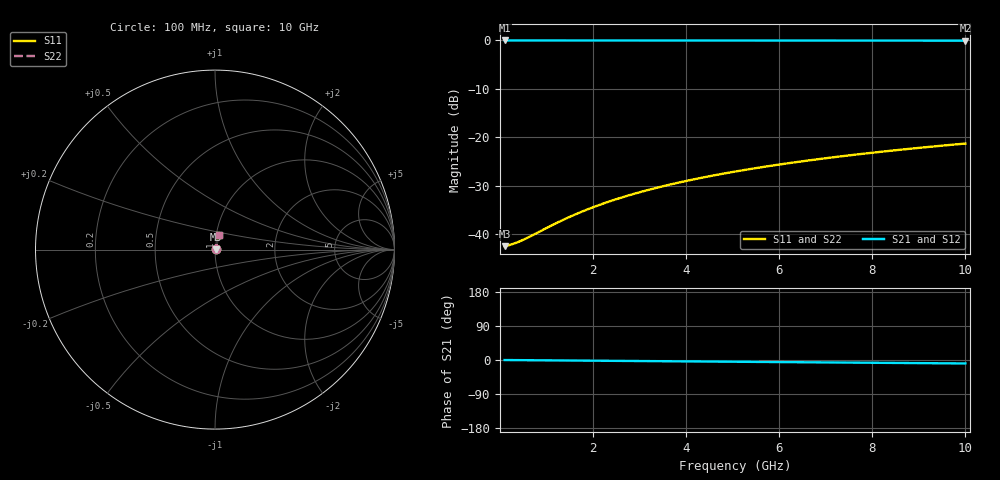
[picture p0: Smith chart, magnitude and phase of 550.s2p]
# Hz S RI R 50.00
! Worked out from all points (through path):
!   100 points, 100 MHz to 10 GHz, reference 50 ohm
!   highest |S21| = -0.06 dB at 100 MHz (marker M1); lowest = -0.1 dB at 10 GHz (marker M2)
!   group delay of S21, straight-line fit = 2.53 ps
!   lowest |S11| = -42.5 dB at 100 MHz (marker M3), VSWR 1.02, Z = 50.7 + j0.086 ohm
!   |S11| at or under -10 dB: start of sweep to end of sweep
!   |S22| runs from -42.5 to -21.3 dB; largest |S21 - S12| = 0
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1e8  0.00743 0.000847  0.9926 -0.00158  0.9926 -0.00158  0.00743 0.000847
2e8  0.00749 0.00169  0.9925 -0.00316  0.9925 -0.00316  0.00749 0.00169
3e8  0.00753 0.00254  0.9925 -0.00474  0.9925 -0.00474  0.00753 0.00254
4e8  0.00757 0.00339  0.9924 -0.00632  0.9924 -0.00632  0.00757 0.00339
5e8  0.0076 0.00424  0.9924 -0.0079  0.9924 -0.0079  0.0076 0.00424
1.3e9  0.00793 0.011  0.992 -0.0205  0.992 -0.0205  0.00793 0.011
1.5e9  0.00803 0.0127  0.9919 -0.0237  0.9919 -0.0237  0.00803 0.0127
1.8e9  0.00819 0.0152  0.9917 -0.0284  0.9917 -0.0284  0.00819 0.0152
2.1e9  0.00838 0.0178  0.9915 -0.0332  0.9915 -0.0332  0.00838 0.0178
2.5e9  0.00866 0.0211  0.9912 -0.0395  0.9912 -0.0395  0.00866 0.0211
2.9e9  0.00898 0.0245  0.9908 -0.0458  0.9908 -0.0458  0.00898 0.0245
3.4e9  0.00944 0.0287  0.9902 -0.0536  0.9902 -0.0536  0.00944 0.0287
3.8e9  0.00986 0.0321  0.9897 -0.0599  0.9897 -0.0599  0.00986 0.0321
4.2e9  0.0103 0.0354  0.9892 -0.0662  0.9892 -0.0662  0.0103 0.0354
4.6e9  0.0108 0.0388  0.9886 -0.0725  0.9886 -0.0725  0.0108 0.0388
5.1e9  0.0115 0.0429  0.9878 -0.0803  0.9878 -0.0803  0.0115 0.0429
5.9e9  0.0127 0.0496  0.9863 -0.0928  0.9863 -0.0928  0.0127 0.0496
6.7e9  0.0141 0.0562  0.9846 -0.1053  0.9846 -0.1053  0.0141 0.0562
7.5e9  0.0157 0.0628  0.9828 -0.1177  0.9828 -0.1177  0.0157 0.0628
8.4e9  0.0176 0.0701  0.9804 -0.1317  0.9804 -0.1317  0.0176 0.0701
9.2e9  0.0195 0.0765  0.9781 -0.144  0.9781 -0.144  0.0195 0.0765
1e10  0.0216 0.0829  0.9757 -0.1563  0.9757 -0.1563  0.0216 0.0829
